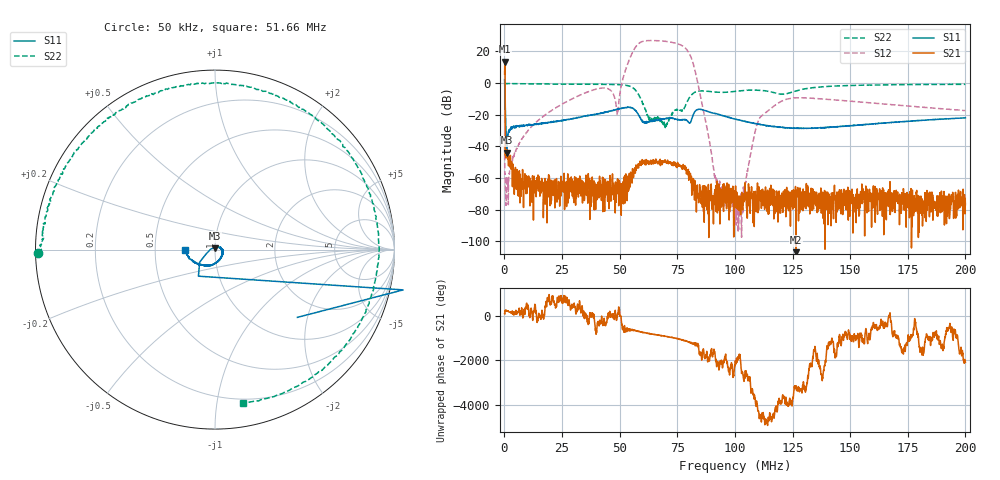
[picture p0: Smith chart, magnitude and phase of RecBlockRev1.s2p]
! 19-Feb-26 2:02:22 PM
! E:\VNA_MEASUREMENTS\RECBLOCK\RECBLOCKREV1.S2P
! CHANNEL.1
! TR.MEASUREMENT
! CORRECTED.DATA
# GHZ S RI R 50.0
! FREQ.GHZ  S11RE  S11IM  S21RE  S21IM  S12RE  S12IM  S22RE  S22IM
!; PortSelection: Port_12
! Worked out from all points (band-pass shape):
!   2000 points, 50 kHz to 200 MHz, reference 50 ohm
!   highest |S21| = 13.46 dB at 150 kHz (marker M1); lowest = -106.9 dB at 126.5 MHz (marker M2)
!   |S21| within 3 dB of the highest: 111.5 kHz to 254 kHz (142.5 kHz wide, 78 % of centre)
!   lowest |S11| = -43.9 dB at 950.2 kHz (marker M3), VSWR 1.01, Z = 50.1 + j0.632 ohm
!   |S11| at or under -10 dB: 317.3 kHz to end of sweep
!   |S22| runs from -28.1 to -0.1 dB; largest |S21 - S12| = 22
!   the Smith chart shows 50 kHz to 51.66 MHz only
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5e-05  1.264 0.2909  0.1071 1.92  -0.00495 0.00844  -0.9878 -0.0182
0.000150025  0.4591 -0.3775  1.471 4.477  -0.0013 0.000171  -0.9635 0.00463
0.000950225  0.000629 0.00632  -0.00319 -0.00425  -0.000438 0.000549  -0.9642 0.0571
0.03345835  -0.0147 -0.0847  0.000425 -0.000743  0.0694 0.4335  0.5507 0.7376
0.05366341  -0.1643 0.0493  -0.000252 0.00028  -1.381 4.28  -0.2449 -0.7893
0.05676418  -0.0838 0.1092  0.000831 0.00116  9.439 9.509  -0.5819 -0.1529
0.05926481  -0.0315 0.0614  0.00247 0.000346  19.18 -5.295  -0.2443 0.1833
0.06116528  -0.0405 0.0388  0.00209 -0.00217  12 -18.11  -0.0186 0.1428
0.06286571  -0.0508 0.0331  -5.6e-06 -0.00339  0.4533 -22.17  0.0526 0.0414
0.06676668  -0.056 0.0389  -0.00249 -0.00224  -20.05 -8.609  0.00929 -0.0809
0.06926731  -0.0534 0.0469  -0.00286 0.00137  -19.8 7.19  0.00515 -0.0584
0.07206801  -0.052 0.06  -0.00119 0.00268  -6.011 18.71  0.0477 -0.073
0.07406851  -0.042 0.0599  0.000597 0.00276  7.32 16.77  0.0275 -0.1363
0.07626906  -0.0397 0.0558  0.00236 0.00087  15.73 3.92  -0.0189 -0.1353
0.07876969  -0.0344 0.0588  0.00112 -0.00139  5.979 -10.57  0.0099 -0.2131
0.08107026  -0.058 0.0334  -0.000482 -0.00104  -5.175 -3.487  -0.2194 -0.3551
0.08307076  -0.0916 0.1015  -0.000316 -0.000382  -1.424 1.201  -0.5051 -0.1689
0.100075  0.0675 0.0272  0.000152 -6.43e-05  0.000152 0.000216  -0.131 -0.5307
0.1264816  0.0125 -0.0349  -1.4e-06 4.3e-06  0.188 -0.2858  -0.5026 0.2628
0.1333833  -0.00213 -0.0371  -0.000117 -0.000164  -0.0516 -0.3272  0.1779 0.6856
0.1666917  -0.0546 -0.0128  0.000336 -0.000263  -0.203 0.0586  0.2506 -0.8467
0.2  -0.0693 0.0406  4.73e-05 0.000136  -0.0497 0.1256  -0.6952 -0.59
